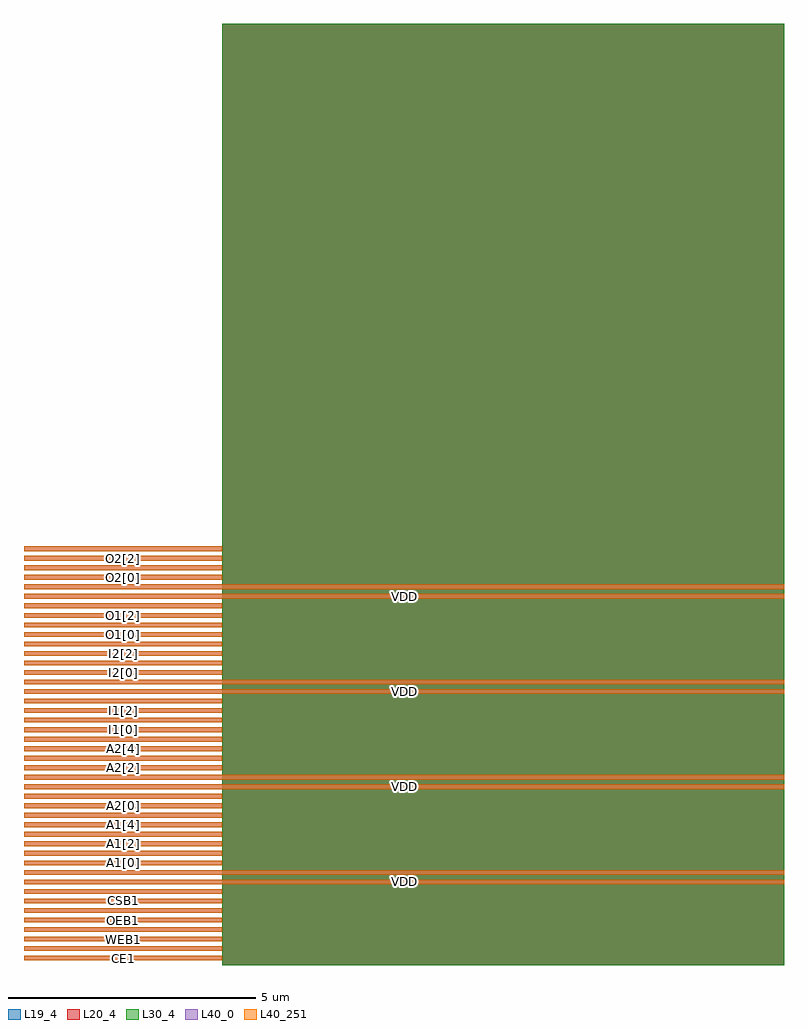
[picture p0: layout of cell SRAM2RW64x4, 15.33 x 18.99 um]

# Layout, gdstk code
import gdstk
lib = gdstk.Library(unit=1e-6, precision=1e-09)
def R(c, l, rs):  # rectangles x0, y0, x1, y1
    for r in rs: c.add(gdstk.rectangle(r[:2], r[2:], *l))
def A(c, l, x, y, w, h, nx, ny, dx, dy):  # array of equal rectangles
    R(c, l, [(x+i*dx, y+j*dy, x+i*dx+w, y+j*dy+h) for i in range(nx) for j in range(ny)])
L19_4 = (19, 4)
L20_4 = (20, 4)
L30_4 = (30, 4)
L40_0 = (40, 0)
L40_251 = (40, 251)

sram2rw64x4 = lib.new_cell('SRAM2RW64x4')
R(sram2rw64x4, L19_4, [(4,0,15.328,18.988)])
R(sram2rw64x4, L20_4, [(4,0,15.328,18.988)])
R(sram2rw64x4, L30_4, [(4,0,15.328,18.988)])
A(sram2rw64x4, L40_0, 0, 0.096, 4, 0.096, 1, 8, 0, 0.192)
A(sram2rw64x4, L40_0, 0, 2.016, 4, 0.096, 1, 8, 0, 0.192)
A(sram2rw64x4, L40_0, 0, 3.936, 4, 0.096, 1, 8, 0, 0.192)
A(sram2rw64x4, L40_0, 0, 5.856, 4, 0.096, 1, 8, 0, 0.192)
A(sram2rw64x4, L40_0, 0, 7.776, 4, 0.096, 1, 4, 0, 0.192)
R(sram2rw64x4, L40_0, [(0,1.632,15.328,1.728), (0,1.824,15.328,1.92), (0,3.552,15.328,3.648), (0,3.744,15.328,3.84), (0,5.472,15.328,5.568), (0,5.664,15.328,5.76), (0,7.392,15.328,7.488), (0,7.584,15.328,7.68)])
A(sram2rw64x4, L40_251, 0, 0.096, 4, 0.096, 1, 8, 0, 0.192)
A(sram2rw64x4, L40_251, 0, 2.016, 4, 0.096, 1, 8, 0, 0.192)
A(sram2rw64x4, L40_251, 0, 3.936, 4, 0.096, 1, 8, 0, 0.192)
A(sram2rw64x4, L40_251, 0, 5.856, 4, 0.096, 1, 8, 0, 0.192)
A(sram2rw64x4, L40_251, 0, 7.776, 4, 0.096, 1, 4, 0, 0.192)
R(sram2rw64x4, L40_251, [(0,1.632,15.328,1.728), (0,1.824,15.328,1.92), (0,3.552,15.328,3.648), (0,3.744,15.328,3.84), (0,5.472,15.328,5.568), (0,5.664,15.328,5.76), (0,7.392,15.328,7.488), (0,7.584,15.328,7.68)])
sram2rw64x4.add(gdstk.Label('CE1', (2,0.144), layer=40, texttype=0))
sram2rw64x4.add(gdstk.Label('CE2', (2,0.336), layer=40, texttype=0))
sram2rw64x4.add(gdstk.Label('WEB1', (2,0.528), layer=40, texttype=0))
sram2rw64x4.add(gdstk.Label('WEB2', (2,0.72), layer=40, texttype=0))
sram2rw64x4.add(gdstk.Label('OEB1', (2,0.912), layer=40, texttype=0))
sram2rw64x4.add(gdstk.Label('OEB2', (2,1.104), layer=40, texttype=0))
sram2rw64x4.add(gdstk.Label('CSB1', (2,1.296), layer=40, texttype=0))
sram2rw64x4.add(gdstk.Label('CSB2', (2,1.488), layer=40, texttype=0))
sram2rw64x4.add(gdstk.Label('A1[0]', (2,2.064), layer=40, texttype=0))
sram2rw64x4.add(gdstk.Label('A1[1]', (2,2.256), layer=40, texttype=0))
sram2rw64x4.add(gdstk.Label('A1[2]', (2,2.448), layer=40, texttype=0))
sram2rw64x4.add(gdstk.Label('A1[3]', (2,2.64), layer=40, texttype=0))
sram2rw64x4.add(gdstk.Label('A1[4]', (2,2.832), layer=40, texttype=0))
sram2rw64x4.add(gdstk.Label('A1[5]', (2,3.024), layer=40, texttype=0))
sram2rw64x4.add(gdstk.Label('A2[0]', (2,3.216), layer=40, texttype=0))
sram2rw64x4.add(gdstk.Label('A2[1]', (2,3.408), layer=40, texttype=0))
sram2rw64x4.add(gdstk.Label('A2[2]', (2,3.984), layer=40, texttype=0))
sram2rw64x4.add(gdstk.Label('A2[3]', (2,4.176), layer=40, texttype=0))
sram2rw64x4.add(gdstk.Label('A2[4]', (2,4.368), layer=40, texttype=0))
sram2rw64x4.add(gdstk.Label('A2[5]', (2,4.56), layer=40, texttype=0))
sram2rw64x4.add(gdstk.Label('I1[0]', (2,4.752), layer=40, texttype=0))
sram2rw64x4.add(gdstk.Label('I1[1]', (2,4.944), layer=40, texttype=0))
sram2rw64x4.add(gdstk.Label('I1[2]', (2,5.136), layer=40, texttype=0))
sram2rw64x4.add(gdstk.Label('I1[3]', (2,5.328), layer=40, texttype=0))
sram2rw64x4.add(gdstk.Label('I2[0]', (2,5.904), layer=40, texttype=0))
sram2rw64x4.add(gdstk.Label('I2[1]', (2,6.096), layer=40, texttype=0))
sram2rw64x4.add(gdstk.Label('I2[2]', (2,6.288), layer=40, texttype=0))
sram2rw64x4.add(gdstk.Label('I2[3]', (2,6.48), layer=40, texttype=0))
sram2rw64x4.add(gdstk.Label('O1[0]', (2,6.672), layer=40, texttype=0))
sram2rw64x4.add(gdstk.Label('O1[1]', (2,6.864), layer=40, texttype=0))
sram2rw64x4.add(gdstk.Label('O1[2]', (2,7.056), layer=40, texttype=0))
sram2rw64x4.add(gdstk.Label('O1[3]', (2,7.248), layer=40, texttype=0))
sram2rw64x4.add(gdstk.Label('O2[0]', (2,7.824), layer=40, texttype=0))
sram2rw64x4.add(gdstk.Label('O2[1]', (2,8.016), layer=40, texttype=0))
sram2rw64x4.add(gdstk.Label('O2[2]', (2,8.208), layer=40, texttype=0))
sram2rw64x4.add(gdstk.Label('O2[3]', (2,8.4), layer=40, texttype=0))
sram2rw64x4.add(gdstk.Label('VDD', (7.664,1.68), layer=40, texttype=0))
sram2rw64x4.add(gdstk.Label('VDD', (7.664,3.6), layer=40, texttype=0))
sram2rw64x4.add(gdstk.Label('VDD', (7.664,5.52), layer=40, texttype=0))
sram2rw64x4.add(gdstk.Label('VDD', (7.664,7.44), layer=40, texttype=0))
sram2rw64x4.add(gdstk.Label('VSS', (7.664,1.872), layer=40, texttype=0))
sram2rw64x4.add(gdstk.Label('VSS', (7.664,3.792), layer=40, texttype=0))
sram2rw64x4.add(gdstk.Label('VSS', (7.664,5.712), layer=40, texttype=0))
sram2rw64x4.add(gdstk.Label('VSS', (7.664,7.632), layer=40, texttype=0))

lib.write_gds('SRAM2RW64x4.gds')
